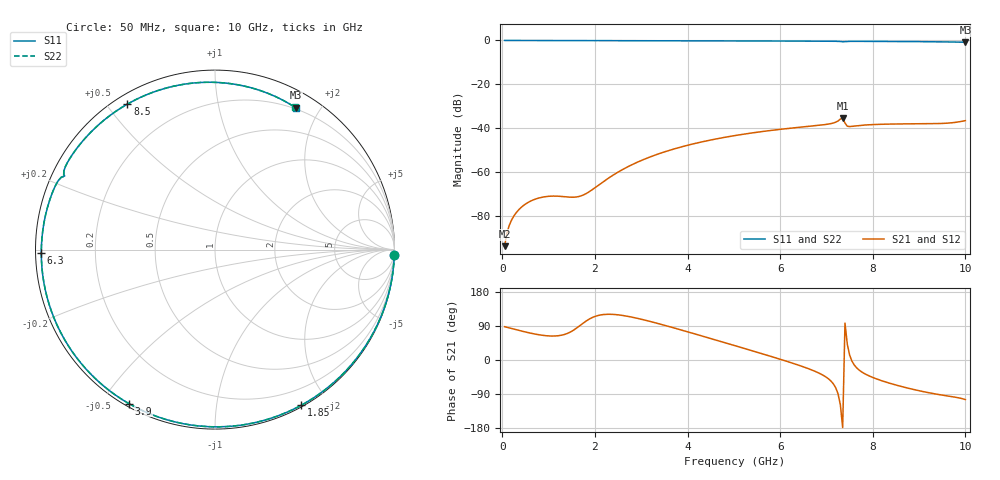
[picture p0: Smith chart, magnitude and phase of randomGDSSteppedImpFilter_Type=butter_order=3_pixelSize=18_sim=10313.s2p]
! freq	dB(S11)	phase(S11)	dB(S12)	phase(S12)
!  dB(S21)	phase(S21)	dB(S22)	phase(S22)
!S-par simulation data
#  GHz  S  DB  R 50
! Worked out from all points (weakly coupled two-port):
!   200 points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, 50 MHz to 10 GHz, reference 50 ohm
!   highest |S21| = -35.46 dB at 7.35 GHz (marker M1); lowest = -94.0 dB at 50 MHz (marker M2)
!   lowest |S11| = -0.8 dB at 10 GHz (marker M3), VSWR 21.08, Z = 9.32 + j85.2 ohm
!   |S11| at or under -10 dB: nowhere
!   |S22| runs from -0.8 to 0.0 dB; largest |S21 - S12| = 0
!   S11 on the Smith chart (normalised r, x): 50 MHz: 1, -66; 1.85 GHz: 0.02, -1.70; 3.9 GHz: 0.01, -0.59; 6.3 GHz: 0.02, -0.01; 8.5 GHz: 0.04, +0.56; 10 GHz: 0.19, +1.70
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0.05  -0.00 -1.7  -94.00 87.9  -94.00 87.9  -0.00 -1.7
0.25  -0.01 -8.6  -80.21 81.6  -80.21 81.6  -0.01 -8.6
0.5  -0.02 -17.1  -74.76 73.9  -74.76 73.9  -0.02 -17.1
0.8  -0.03 -27.1  -71.93 66.4  -71.93 66.4  -0.03 -27.1
1.55  -0.06 -51.6  -71.61 79.6  -71.61 79.6  -0.06 -51.6
1.75  -0.07 -57.9  -70.61 97.6  -70.61 97.6  -0.07 -57.9
1.85  -0.08 -61.0  -69.48 105.9  -69.48 105.9  -0.08 -61.0
2.6  -0.10 -83.5  -58.95 117.5  -58.95 117.5  -0.10 -83.5
3.4  -0.13 -105.9  -51.64 95.1  -51.64 95.1  -0.13 -105.9
3.9  -0.15 -119.2  -48.45 77.9  -48.45 77.9  -0.15 -119.2
5.05  -0.20 -148.2  -43.37 36.9  -43.37 36.9  -0.20 -148.2
6.3  -0.28 -179.0  -39.93 -9.7  -39.93 -9.7  -0.28 -178.9
6.7  -0.31 171.0  -39.08 -27.2  -39.08 -27.2  -0.31 171.1
7.15  -0.37 159.1  -37.71 -63.1  -37.71 -63.1  -0.36 159.3
7.35  -0.61 153.9  -35.46 -178.3  -35.46 -178.3  -0.61 154.0
7.45  -0.45 152.3  -39.19 41.6  -39.19 41.6  -0.45 152.5
7.5  -0.41 150.8  -39.35 13.0  -39.35 13.0  -0.41 150.9
8.35  -0.46 125.8  -38.22 -60.8  -38.22 -60.8  -0.46 126.0
8.5  -0.48 121.1  -38.17 -66.0  -38.17 -66.0  -0.48 121.3
9.35  -0.61 90.9  -38.02 -89.6  -38.02 -89.6  -0.61 91.1
9.7  -0.70 75.7  -37.63 -96.5  -37.63 -96.5  -0.70 76.0
10  -0.82 60.4  -36.64 -104.3  -36.64 -104.3  -0.82 60.8
